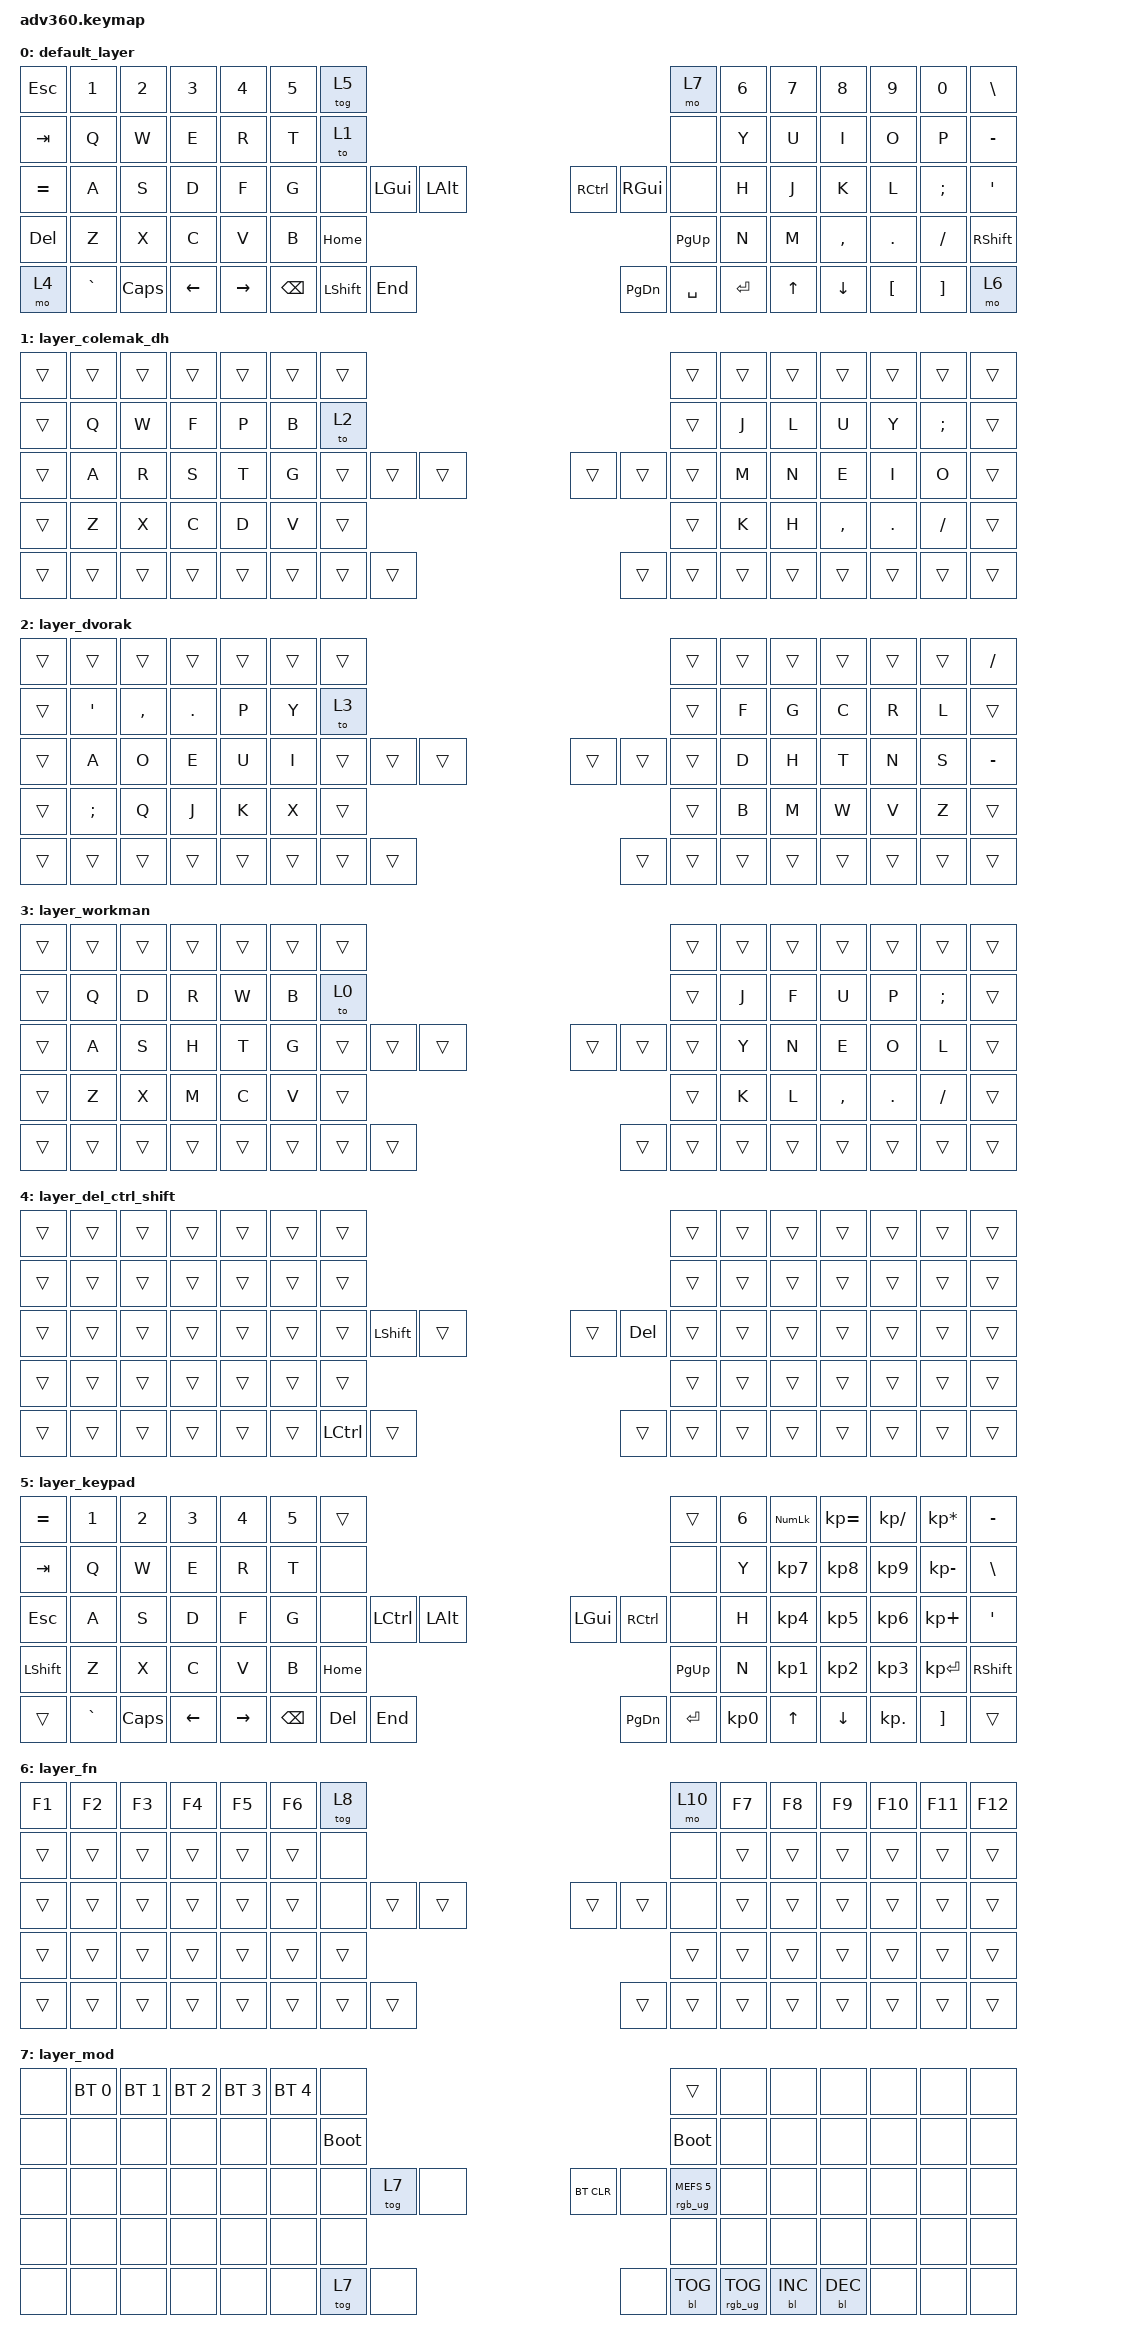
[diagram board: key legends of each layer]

/*
 * Copyright (c) 2020 The ZMK Contributors
 *
 * SPDX-License-Identifier: MIT
 */


/* THIS FILE WAS GENERATED!
 *
 * This file was generated automatically. You may or may not want to
 * edit it directly.
 */

#include <behaviors.dtsi>
#include <dt-bindings/zmk/keys.h>
#include <dt-bindings/zmk/bt.h>
#include <dt-bindings/zmk/rgb.h>
#include <dt-bindings/zmk/backlight.h>

/ {
  behaviors {
    #include "macros.dtsi"
    #include "version.dtsi"

    hm: homerow_mods {
        compatible = "zmk,behavior-hold-tap";
        label = "HOMEROW_MODS";
        #binding-cells = <2>;
        tapping-term-ms = <200>;
        quick_tap_ms = <175>;
        flavor = "tap-preferred";
        bindings = <&kp>, <&kp>;
    };
  };

    keymap {
        compatible = "zmk,keymap";


        default_layer {
            bindings = <
 &kp ESCAPE     &kp N1    &kp N2    &kp N3     &kp N4  &kp N5              &tog 5                                                                      &mo 7  &kp N6  &kp N7     &kp N8    &kp N9    &kp N0  &kp BACKSLASH
    &kp TAB      &kp Q     &kp W     &kp E      &kp R   &kp T               &to 1                                                                      &none   &kp Y   &kp U      &kp I     &kp O     &kp P      &kp MINUS
  &kp EQUAL      &kp A     &kp S     &kp D      &kp F   &kp G               &none    &kp LEFT_GUI  &kp LALT                  &kp RCTRL   &kp RGUI      &none   &kp H   &kp J      &kp K     &kp L  &kp SEMI        &kp SQT
 &kp DELETE      &kp Z     &kp X     &kp C      &kp V   &kp B                                      &kp HOME                  &kp PG_UP                         &kp N   &kp M  &kp COMMA   &kp DOT  &kp FSLH      &kp RSHFT
      &mo 4  &kp GRAVE  &kp CAPS  &kp LEFT  &kp RIGHT                    &kp BSPC  &kp LEFT_SHIFT   &kp END                  &kp PG_DN  &kp SPACE  &kp ENTER          &kp UP   &kp DOWN  &kp LBKT  &kp RBKT          &mo 6
            >;
        };

        layer_colemak_dh {
            bindings = <
 &trans  &trans  &trans  &trans  &trans  &trans            &trans                                                  &trans  &trans  &trans     &trans      &trans         &trans  &trans
 &trans   &kp Q   &kp W   &kp F   &kp P   &kp B             &to 2                                                  &trans   &kp J   &kp L      &kp U       &kp Y  &kp SEMICOLON  &trans
 &trans   &kp A   &kp R   &kp S   &kp T   &kp G            &trans  &trans  &trans                  &trans  &trans  &trans   &kp M   &kp N      &kp E       &kp I          &kp O  &trans
 &trans   &kp Z   &kp X   &kp C   &kp D   &kp V                            &trans                  &trans                   &kp K   &kp H  &kp COMMA  &kp PERIOD      &kp SLASH  &trans
 &trans  &trans  &trans  &trans  &trans                    &trans  &trans  &trans                  &trans  &trans  &trans          &trans     &trans      &trans         &trans  &trans
            >;
        };

        layer_dvorak {
            bindings = <
 &trans          &trans     &trans      &trans  &trans  &trans            &trans                                                  &trans  &trans  &trans  &trans  &trans  &trans  &kp SLASH
 &trans  &kp APOSTROPHE  &kp COMMA  &kp PERIOD   &kp P   &kp Y             &to 3                                                  &trans   &kp F   &kp G   &kp C   &kp R   &kp L     &trans
 &trans           &kp A      &kp O       &kp E   &kp U   &kp I            &trans  &trans  &trans                  &trans  &trans  &trans   &kp D   &kp H   &kp T   &kp N   &kp S  &kp MINUS
 &trans   &kp SEMICOLON      &kp Q       &kp J   &kp K   &kp X                            &trans                  &trans                   &kp B   &kp M   &kp W   &kp V   &kp Z     &trans
 &trans          &trans     &trans      &trans  &trans                    &trans  &trans  &trans                  &trans  &trans  &trans          &trans  &trans  &trans  &trans     &trans
            >;
        };

        layer_workman {
            bindings = <
 &trans  &trans  &trans  &trans  &trans  &trans            &trans                                                  &trans  &trans  &trans     &trans      &trans         &trans  &trans
 &trans   &kp Q   &kp D   &kp R   &kp W   &kp B             &to 0                                                  &trans   &kp J   &kp F      &kp U       &kp P  &kp SEMICOLON  &trans
 &trans   &kp A   &kp S   &kp H   &kp T   &kp G            &trans  &trans  &trans                  &trans  &trans  &trans   &kp Y   &kp N      &kp E       &kp O          &kp L  &trans
 &trans   &kp Z   &kp X   &kp M   &kp C   &kp V                            &trans                  &trans                   &kp K   &kp L  &kp COMMA  &kp PERIOD      &kp SLASH  &trans
 &trans  &trans  &trans  &trans  &trans                    &trans  &trans  &trans                  &trans  &trans  &trans          &trans     &trans      &trans         &trans  &trans
            >;
        };

        layer_del_ctrl_shift {
            bindings = <
 &trans  &trans  &trans  &trans  &trans  &trans            &trans                                                       &trans  &trans  &trans  &trans  &trans  &trans  &trans
 &trans  &trans  &trans  &trans  &trans  &trans            &trans                                                       &trans  &trans  &trans  &trans  &trans  &trans  &trans
 &trans  &trans  &trans  &trans  &trans  &trans            &trans  &kp LSHIFT  &trans                  &trans  &kp DEL  &trans  &trans  &trans  &trans  &trans  &trans  &trans
 &trans  &trans  &trans  &trans  &trans  &trans                                &trans                  &trans                   &trans  &trans  &trans  &trans  &trans  &trans
 &trans  &trans  &trans  &trans  &trans                    &trans   &kp LCTRL  &trans                  &trans   &trans  &trans          &trans  &trans  &trans  &trans  &trans
            >;
        };

        layer_keypad {
            bindings = <
 &kp EQUAL     &kp N1    &kp N2    &kp N3     &kp N4  &kp N5              &trans                                                                &trans  &kp N6  &kp KP_NUM  &kp KP_EQUAL  &kp KP_DIVIDE  &kp KP_MULTIPLY  &kp MINUS
   &kp TAB      &kp Q     &kp W     &kp E      &kp R   &kp T               &none                                                                 &none   &kp Y   &kp KP_N7     &kp KP_N8      &kp KP_N9     &kp KP_MINUS   &kp BSLH
   &kp ESC      &kp A     &kp S     &kp D      &kp F   &kp G               &none  &kp LCTRL  &kp LALT                   &kp LGUI  &kp RCTRL      &none   &kp H   &kp KP_N4     &kp KP_N5      &kp KP_N6      &kp KP_PLUS    &kp SQT
 &kp LSHFT      &kp Z     &kp X     &kp C      &kp V   &kp B                                 &kp HOME                  &kp PG_UP                         &kp N   &kp KP_N1     &kp KP_N2      &kp KP_N3     &kp KP_ENTER  &kp RSHFT
    &trans  &kp GRAVE  &kp CAPS  &kp LEFT  &kp RIGHT                    &kp BSPC    &kp DEL   &kp END                  &kp PG_DN  &kp ENTER  &kp KP_N0              &kp UP      &kp DOWN     &kp KP_DOT         &kp RBKT     &trans
            >;
        };

        layer_fn {
            bindings = <
 &kp F1  &kp F2  &kp F3  &kp F4  &kp F5  &kp F6            &tog 8                                                  &mo 10  &kp F7  &kp F8  &kp F9  &kp F10  &kp F11  &kp F12
 &trans  &trans  &trans  &trans  &trans  &trans             &none                                                   &none  &trans  &trans  &trans   &trans   &trans   &trans
 &trans  &trans  &trans  &trans  &trans  &trans             &none  &trans  &trans                  &trans  &trans   &none  &trans  &trans  &trans   &trans   &trans   &trans
 &trans  &trans  &trans  &trans  &trans  &trans                            &trans                  &trans                  &trans  &trans  &trans   &trans   &trans   &trans
 &trans  &trans  &trans  &trans  &trans                    &trans  &trans  &trans                  &trans  &trans  &trans          &trans  &trans   &trans   &trans   &trans
            >;
        };

        layer_mod {
            bindings = <
  &none  &bt BT_SEL 0  &bt BT_SEL 1  &bt BT_SEL 2  &bt BT_SEL 3  &bt BT_SEL 4                  &none                                                                          &trans   &none       &none       &none   &none   &none   &none
  &none         &none         &none         &none         &none         &none            &bootloader                                                                     &bootloader   &none       &none       &none   &none   &none   &none
  &none         &none         &none         &none         &none         &none                  &none  &tog 7   &none                  &bt BT_CLR       &none  &rgb_ug RGB_MEFS_CMD 5   &none       &none       &none   &none   &none   &none
  &none         &none         &none         &none         &none         &none                                  &none                       &none                                       &none       &none       &none   &none   &none   &none
  &none         &none         &none         &none         &none                                &none  &tog 7   &none                       &none  &bl BL_TOG         &rgb_ug RGB_TOG          &bl BL_INC  &bl BL_DEC   &none   &none   &none
            >;
        };

    };
};
